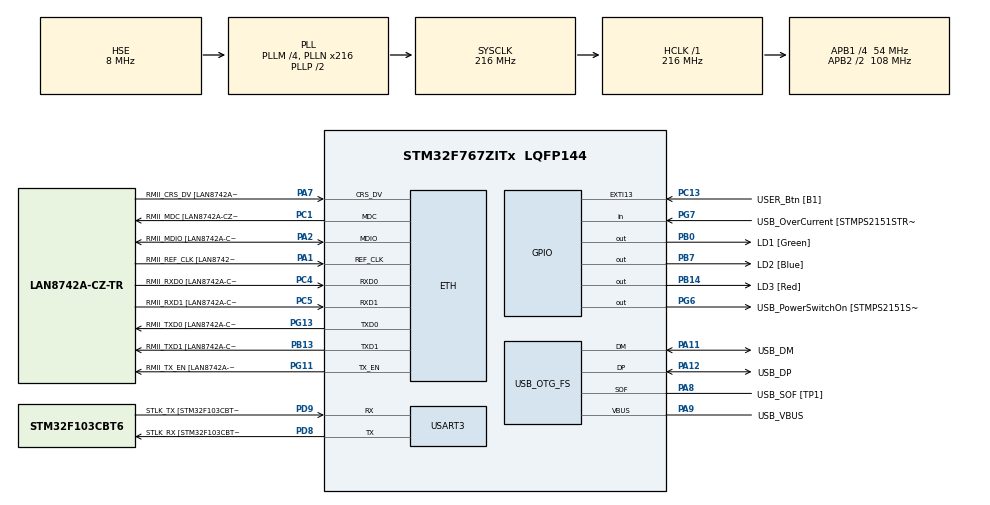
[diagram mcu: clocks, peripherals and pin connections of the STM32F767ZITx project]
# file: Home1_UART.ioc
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ETH.MediaInterface=HAL_ETH_RMII_MODE
ETH.PHY_Name=LAN8742A_PHY_ADDRESS
ETH.PHY_Value=0
ETH.PhyAddress=0
Mcu.Family=STM32F7
Mcu.Name=STM32F767ZITx
Mcu.Package=LQFP144
NVIC.PriorityGroup=NVIC_PRIORITYGROUP_4
NVIC.TIM6_DAC_IRQn=true\:15\:0\:false\:false\:true\:false\:true\:true
NVIC.TimeBase=TIM6_DAC_IRQn
NVIC.TimeBaseIP=TIM6
NVIC.USART3_IRQn=true\:10\:0\:true\:false\:true\:true\:true\:true
PA1.GPIO_Label=RMII_REF_CLK [LAN8742A-CZ-TR_REFCLK0]
PA1.Mode=RMII
PA1.Signal=ETH_REF_CLK
PA10.GPIO_Label=USB_ID
PA10.Signal=USB_OTG_FS_ID
PA11.GPIO_Label=USB_DM
PA11.Mode=Device_Only
PA11.Signal=USB_OTG_FS_DM
PA12.GPIO_Label=USB_DP
PA12.Mode=Device_Only
PA12.Signal=USB_OTG_FS_DP
PA13.GPIO_Label=TMS
PA13.Mode=Serial_Wire
PA13.Signal=SYS_JTMS-SWDIO
PA14.GPIO_Label=TCK
PA14.Mode=Serial_Wire
PA14.Signal=SYS_JTCK-SWCLK
PA2.GPIO_Label=RMII_MDIO [LAN8742A-CZ-TR_MDIO]
PA2.Mode=RMII
PA2.Signal=ETH_MDIO
PA7.GPIO_Label=RMII_CRS_DV [LAN8742A-CZ-TR_CRS_DV]
PA7.Mode=RMII
PA7.Signal=ETH_CRS_DV
PA8.GPIO_Label=USB_SOF [TP1]
PA8.Mode=Activate_SOF_FS
PA8.Signal=USB_OTG_FS_SOF
PA9.GPIO_Label=USB_VBUS
PA9.Mode=Activate_VBUS
PA9.Signal=USB_OTG_FS_VBUS
PB0.GPIO_Label=LD1 [Green]
PB0.Signal=GPIO_Output
PB13.GPIO_Label=RMII_TXD1 [LAN8742A-CZ-TR_TXD1]
PB13.Mode=RMII
PB13.Signal=ETH_TXD1
PB14.GPIO_Label=LD3 [Red]
PB14.Signal=GPIO_Output
PB3.GPIO_Label=SWO
PB3.Signal=SYS_JTDO-SWO
PB7.GPIO_Label=LD2 [Blue]
PB7.Signal=GPIO_Output
PC1.GPIO_Label=RMII_MDC [LAN8742A-CZ-TR_MDC]
PC1.Mode=RMII
PC1.Signal=ETH_MDC
PC13.GPIO_Label=USER_Btn [B1]
PC13.Signal=GPXTI13
PC14/OSC32_IN.Mode=LSE-External-Oscillator
PC14/OSC32_IN.Signal=RCC_OSC32_IN
PC15/OSC32_OUT.Mode=LSE-External-Oscillator
PC15/OSC32_OUT.Signal=RCC_OSC32_OUT
PC4.GPIO_Label=RMII_RXD0 [LAN8742A-CZ-TR_RXD0]
PC4.Mode=RMII
PC4.Signal=ETH_RXD0
PC5.GPIO_Label=RMII_RXD1 [LAN8742A-CZ-TR_RXD1]
PC5.Mode=RMII
PC5.Signal=ETH_RXD1
PD8.GPIO_Label=STLK_RX [STM32F103CBT6_PA3]
PD8.Mode=Asynchronous
PD8.Signal=USART3_TX
PD9.GPIO_Label=STLK_TX [STM32F103CBT6_PA2]
PD9.Mode=Asynchronous
PD9.Signal=USART3_RX
PG11.GPIO_Label=RMII_TX_EN [LAN8742A-CZ-TR_TXEN]
PG11.Mode=RMII
PG11.Signal=ETH_TX_EN
PG13.GPIO_Label=RMII_TXD0 [LAN8742A-CZ-TR_TXD0]
PG13.Mode=RMII
PG13.Signal=ETH_TXD0
PG6.GPIO_Label=USB_PowerSwitchOn [STMPS2151STR_EN]
PG6.Signal=GPIO_Output
PG7.GPIO_Label=USB_OverCurrent [STMPS2151STR_FAULT]
PG7.Signal=GPIO_Input
PH0/OSC_IN.GPIO_Label=MCO [STM32F103CBT6_PA8]
PH0/OSC_IN.Mode=HSE-External-Clock-Source
PH0/OSC_IN.Signal=RCC_OSC_IN
PH1/OSC_OUT.Mode=HSE-External-Clock-Source
PH1/OSC_OUT.Signal=RCC_OSC_OUT
ProjectManager.HeapSize=0x400
ProjectManager.StackSize=0x400
ProjectManager.TargetToolchain=STM32CubeIDE
RCC.48MHZClocksFreq_Value=24000000
RCC.AHBFreq_Value=216000000
RCC.APB1CLKDivider=RCC_HCLK_DIV4
RCC.APB1Freq_Value=54000000
RCC.APB1TimFreq_Value=108000000
RCC.APB2CLKDivider=RCC_HCLK_DIV2
RCC.APB2Freq_Value=108000000
RCC.APB2TimFreq_Value=216000000
RCC.CortexFreq_Value=216000000
RCC.HCLKFreq_Value=216000000
RCC.HSE_VALUE=8000000
RCC.HSI_VALUE=16000000
RCC.PLLM=4
RCC.PLLMUL=RCC_PLL_MUL9
RCC.PLLN=216
RCC.PLLQ=9
RCC.PRESCALERUSB=RCC_USBCLKSOURCE_PLL_DIV1_5
RCC.SYSCLKFreq_VALUE=216000000
RCC.SYSCLKSource=RCC_SYSCLKSOURCE_PLLCLK
RCC.SYSCLKSourceVirtual=RCC_SYSCLKSOURCE_PLLCLK
RCC.USBFreq_Value=48000000
RCC.VCOOutputFreq_Value=432000000
USART3.VirtualMode-Asynchronous=VM_ASYNC
USB_OTG_FS.VirtualMode=Device_Only
VP_SYS_VS_tim6.Mode=TIM6
board=NUCLEO-F767ZI

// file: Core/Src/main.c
/* USER CODE BEGIN Header */
/**
  ******************************************************************************
  * @file           : main.c
  * @brief          : Main program body
  ******************************************************************************
  * @attention
  *
  * Copyright (c) 2025 STMicroelectronics.
  * All rights reserved.
  *
  * This software is licensed under terms that can be found in the LICENSE file
  * in the root directory of this software component.
  * If no LICENSE file comes with this software, it is provided AS-IS.
  *
  ******************************************************************************
  */
/* USER CODE END Header */
#include "main.h"
#include "eth.h"
#include "usart.h"
#include "usb_otg.h"
#include "gpio.h"

/* USER CODE BEGIN Includes */
#include "string.h"
/* USER CODE END Includes */

void SystemClock_Config(void);

/* USER CODE BEGIN 0 */
#define UART_BUF_SIZE 128

uint8_t rxPos = 0;
uint8_t rxBuf[UART_BUF_SIZE];
uint8_t txBuf[UART_BUF_SIZE];
const char* msgERR = "error invalid arguments\r\n";
const char* msgOK  = "Ok\r\n";

// Вкл и Выкл светодиодов
void ledSwitch( uint8_t ledNum, uint8_t ledState )
{
	ledNum -= 1;

	if( ledState == 0 ) { GPIOB->BSRR |= (0x1 << (ledNum * 7)) << 16; }

	if( ledState == 1 ) { GPIOB->BSRR |= (0x1 << (ledNum * 7)); }
}

void HAL_UART_RxCpltCallback( UART_HandleTypeDef *huart )
{
	if( huart == &huart3 )
	{
		if( rxPos >= UART_BUF_SIZE ) { rxPos = 0; }

		rxPos++;
		if( ( rxPos > 0 ) && ( rxBuf[rxPos - 1] == '\r' ) )
		{
			HAL_UART_Receive_IT( &huart3, rxBuf, 1);
		}
		else
		{
			HAL_UART_Receive_IT( &huart3, rxBuf + rxPos, 1);
		}
	}
}

/* USER CODE END 0 */

int main(void)
{

  /* MCU Configuration--------------------------------------------------------*/

  /* Reset of all peripherals, Initializes the Flash interface and the Systick. */
  HAL_Init();

  /* Configure the system clock */
  SystemClock_Config();

  /* Initialize all configured peripherals */
  MX_GPIO_Init();
  MX_ETH_Init();
  MX_USART3_UART_Init();
  MX_USB_OTG_FS_PCD_Init();
  /* USER CODE BEGIN 2 */
  HAL_UART_Receive_IT( &huart3, rxBuf, 1 );
  /* USER CODE END 2 */

  /* Infinite loop */
  /* USER CODE BEGIN WHILE */
  while (1)
  {
	  /*
		******************************************
			Домашнее задание №1

			Стурис Алексей
		******************************************
	  */
	  if( ( rxPos > 0 ) && ( rxBuf[rxPos - 1] == '\r' ) )
	  {
		  uint8_t ledNum  = 0xFF; // 0xFF означает, что пришла некорректная команда
		  uint8_t ledStat = 0; // 0 - светодиод выключить; 1 - светодиод включить

		  if( (rxBuf[0] == 'o') && (rxBuf[1] == 'n') && (rxBuf[2] == ' ') )
		  {
			  if( ((rxBuf[3] == '0') || (rxBuf[3] == '1') || (rxBuf[3] == '2') || (rxBuf[3] == '3')) && (rxBuf[4] == '\r') )
			  {
				  ledStat = 1; // включить светодиод
				  ledNum = rxBuf[3] - 48; // '0' = 48 в таблице ASCII
			  }
		  }
		  else if( (rxBuf[0] == 'o') && (rxBuf[1] == 'f') && (rxBuf[2] == 'f') && (rxBuf[3] == ' ') )
		  {
			  if( ((rxBuf[4] == '0') || (rxBuf[4] == '1') || (rxBuf[4] == '2') || (rxBuf[4] == '3')) && (rxBuf[5] == '\r') )
			  {
				  ledStat = 0;  // выключить светодиод
				  ledNum = rxBuf[4] - 48; // '0' = 48 в таблице ASCII
			  }
		  }
		  // если не зашли в if, то ledNum = 0xFF;

		  if( ledNum != 0xFF )
		  {
			  if( ledNum > 0 ) { ledSwitch( ledNum, ledStat); } // LD0 нет на плате
			  HAL_UART_Transmit_IT( &huart3, (uint8_t*)msgOK,  strlen(msgOK));
		  }
		  else
		  {
			  HAL_UART_Transmit_IT( &huart3, (uint8_t*)msgERR, strlen(msgERR));
		  }

		  memset(rxBuf, 0, UART_BUF_SIZE);
		  rxPos = 0;
	  }
    /* USER CODE END WHILE */

  }
}

void SystemClock_Config(void)
{
  RCC_OscInitTypeDef RCC_OscInitStruct = {0};
  RCC_ClkInitTypeDef RCC_ClkInitStruct = {0};

  /** Configure LSE Drive Capability
  */
  HAL_PWR_EnableBkUpAccess();

  /** Configure the main internal regulator output voltage
  */
  __HAL_RCC_PWR_CLK_ENABLE();
  __HAL_PWR_VOLTAGESCALING_CONFIG(PWR_REGULATOR_VOLTAGE_SCALE1);

  /** Initializes the RCC Oscillators according to the specified parameters
  * in the RCC_OscInitTypeDef structure.
  */
  RCC_OscInitStruct.OscillatorType = RCC_OSCILLATORTYPE_HSE;
  RCC_OscInitStruct.HSEState = RCC_HSE_BYPASS;
  RCC_OscInitStruct.PLL.PLLState = RCC_PLL_ON;
  RCC_OscInitStruct.PLL.PLLSource = RCC_PLLSOURCE_HSE;
  RCC_OscInitStruct.PLL.PLLM = 4;
  RCC_OscInitStruct.PLL.PLLN = 216;
  RCC_OscInitStruct.PLL.PLLP = RCC_PLLP_DIV2;
  RCC_OscInitStruct.PLL.PLLQ = 9;
  RCC_OscInitStruct.PLL.PLLR = 2;
  if (HAL_RCC_OscConfig(&RCC_OscInitStruct) != HAL_OK)
  {
    Error_Handler();
  }

  /** Activate the Over-Drive mode
  */
  if (HAL_PWREx_EnableOverDrive() != HAL_OK)
  {
    Error_Handler();
  }

  /** Initializes the CPU, AHB and APB buses clocks
  */
  RCC_ClkInitStruct.ClockType = RCC_CLOCKTYPE_HCLK|RCC_CLOCKTYPE_SYSCLK
                              |RCC_CLOCKTYPE_PCLK1|RCC_CLOCKTYPE_PCLK2;
  RCC_ClkInitStruct.SYSCLKSource = RCC_SYSCLKSOURCE_PLLCLK;
  RCC_ClkInitStruct.AHBCLKDivider = RCC_SYSCLK_DIV1;
  RCC_ClkInitStruct.APB1CLKDivider = RCC_HCLK_DIV4;
  RCC_ClkInitStruct.APB2CLKDivider = RCC_HCLK_DIV2;

  if (HAL_RCC_ClockConfig(&RCC_ClkInitStruct, FLASH_LATENCY_7) != HAL_OK)
  {
    Error_Handler();
  }
}

void HAL_TIM_PeriodElapsedCallback(TIM_HandleTypeDef *htim)
{
  if (htim->Instance == TIM6)
  {
    HAL_IncTick();
  }
}

void Error_Handler(void)
{
  __disable_irq();
  while (1)
  {
  }
}
